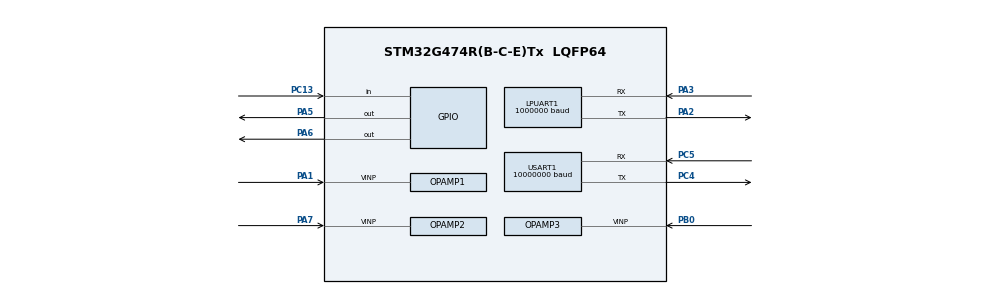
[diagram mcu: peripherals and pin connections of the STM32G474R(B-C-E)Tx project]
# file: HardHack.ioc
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ADC1.Channel-0\#ChannelRegularConversion=ADC_CHANNEL_VOPAMP1
ADC1.ContinuousConvMode=DISABLE
ADC1.DMAContinuousRequests=ENABLE
ADC1.ExternalTrigConv=ADC_EXTERNALTRIG_T3_TRGO
ADC1.NbrOfConversionFlag=1
ADC1.OffsetNumber-0\#ChannelRegularConversion=ADC_OFFSET_NONE
ADC1.Rank-0\#ChannelRegularConversion=1
ADC1.Resolution=ADC_RESOLUTION_8B
ADC1.SamplingTime-0\#ChannelRegularConversion=ADC_SAMPLETIME_247CYCLES_5
ADC1.master=1
ADC2.Channel-0\#ChannelRegularConversion=ADC_CHANNEL_VOPAMP2
ADC2.DMAContinuousRequests=ENABLE
ADC2.ExternalTrigConv=ADC_EXTERNALTRIG_T3_TRGO
ADC2.NbrOfConversionFlag=1
ADC2.OffsetNumber-0\#ChannelRegularConversion=ADC_OFFSET_NONE
ADC2.Rank-0\#ChannelRegularConversion=1
ADC2.Resolution=ADC_RESOLUTION_8B
ADC2.SamplingTime-0\#ChannelRegularConversion=ADC_SAMPLETIME_247CYCLES_5
ADC3.Channel-0\#ChannelRegularConversion=ADC_CHANNEL_VOPAMP3_ADC3
ADC3.DMAContinuousRequests=ENABLE
ADC3.ExternalTrigConv=ADC_EXTERNALTRIG_T3_TRGO
ADC3.NbrOfConversionFlag=1
ADC3.OffsetNumber-0\#ChannelRegularConversion=ADC_OFFSET_NONE
ADC3.Rank-0\#ChannelRegularConversion=1
ADC3.SamplingTime-0\#ChannelRegularConversion=ADC_SAMPLETIME_247CYCLES_5
ADC3.master=1
Dma.ADC1.0.Direction=DMA_PERIPH_TO_MEMORY
Dma.ADC1.0.EventEnable=DISABLE
Dma.ADC1.0.Instance=DMA1_Channel1
Dma.ADC1.0.MemDataAlignment=DMA_MDATAALIGN_BYTE
Dma.ADC1.0.MemInc=DMA_MINC_ENABLE
Dma.ADC1.0.Mode=DMA_CIRCULAR
Dma.ADC1.0.PeriphDataAlignment=DMA_PDATAALIGN_HALFWORD
Dma.ADC1.0.PeriphInc=DMA_PINC_DISABLE
Dma.ADC1.0.Polarity=HAL_DMAMUX_REQ_GEN_RISING
Dma.ADC1.0.Priority=DMA_PRIORITY_VERY_HIGH
Dma.ADC1.0.RequestNumber=1
Dma.ADC1.0.SignalID=NONE
Dma.ADC1.0.SyncEnable=DISABLE
Dma.ADC1.0.SyncPolarity=HAL_DMAMUX_SYNC_NO_EVENT
Dma.ADC1.0.SyncRequestNumber=1
Dma.ADC1.0.SyncSignalID=NONE
Dma.ADC2.1.Direction=DMA_PERIPH_TO_MEMORY
Dma.ADC2.1.EventEnable=DISABLE
Dma.ADC2.1.Instance=DMA1_Channel2
Dma.ADC2.1.MemDataAlignment=DMA_MDATAALIGN_BYTE
Dma.ADC2.1.MemInc=DMA_MINC_ENABLE
Dma.ADC2.1.Mode=DMA_CIRCULAR
Dma.ADC2.1.PeriphDataAlignment=DMA_PDATAALIGN_HALFWORD
Dma.ADC2.1.PeriphInc=DMA_PINC_DISABLE
Dma.ADC2.1.Polarity=HAL_DMAMUX_REQ_GEN_RISING
Dma.ADC2.1.Priority=DMA_PRIORITY_VERY_HIGH
Dma.ADC2.1.RequestNumber=1
Dma.ADC2.1.SignalID=NONE
Dma.ADC2.1.SyncEnable=DISABLE
Dma.ADC2.1.SyncPolarity=HAL_DMAMUX_SYNC_NO_EVENT
Dma.ADC2.1.SyncRequestNumber=1
Dma.ADC2.1.SyncSignalID=NONE
Dma.ADC3.2.Direction=DMA_PERIPH_TO_MEMORY
Dma.ADC3.2.EventEnable=DISABLE
Dma.ADC3.2.Instance=DMA1_Channel3
Dma.ADC3.2.MemDataAlignment=DMA_MDATAALIGN_BYTE
Dma.ADC3.2.MemInc=DMA_MINC_ENABLE
Dma.ADC3.2.Mode=DMA_CIRCULAR
Dma.ADC3.2.PeriphDataAlignment=DMA_PDATAALIGN_HALFWORD
Dma.ADC3.2.PeriphInc=DMA_PINC_DISABLE
Dma.ADC3.2.Polarity=HAL_DMAMUX_REQ_GEN_RISING
Dma.ADC3.2.Priority=DMA_PRIORITY_VERY_HIGH
Dma.ADC3.2.RequestNumber=1
Dma.ADC3.2.SignalID=NONE
Dma.ADC3.2.SyncEnable=DISABLE
Dma.ADC3.2.SyncPolarity=HAL_DMAMUX_SYNC_NO_EVENT
Dma.ADC3.2.SyncRequestNumber=1
Dma.ADC3.2.SyncSignalID=NONE
Dma.Request0=ADC1
Dma.Request1=ADC2
Dma.Request2=ADC3
LPUART1.BaudRate=1000000
Mcu.Family=STM32G4
Mcu.Name=STM32G474R(B-C-E)Tx
Mcu.Package=LQFP64
NVIC.DMA1_Channel1_IRQn=true\:0\:0\:false\:false\:true\:false\:true\:true
NVIC.DMA1_Channel2_IRQn=true\:0\:0\:true\:false\:true\:false\:true\:true
NVIC.DMA1_Channel3_IRQn=true\:0\:0\:false\:false\:true\:false\:true\:true
NVIC.PriorityGroup=NVIC_PRIORITYGROUP_4
OPAMP1.PowerMode=OPAMP_POWERMODE_NORMALSPEED
PA1.Mode=Follower_Internally_Connected
PA1.Signal=OPAMP1_VINP
PA13.Mode=Trace_Asynchronous_SW
PA13.Signal=SYS_JTMS-SWDIO
PA14.Mode=Trace_Asynchronous_SW
PA14.Signal=SYS_JTCK-SWCLK
PA2.Mode=Asynchronous
PA2.Signal=LPUART1_TX
PA3.Mode=Asynchronous
PA3.Signal=LPUART1_RX
PA5.Signal=GPIO_Output
PA6.Signal=GPIO_Output
PA7.Mode=Follower_Internally_Connected
PA7.Signal=OPAMP2_VINP
PB0.Mode=Follower_Internally_Connected
PB0.Signal=OPAMP3_VINP
PB3.Mode=Trace_Asynchronous_SW
PB3.Signal=SYS_JTDO-SWO
PC13.GPIO_PuPd=GPIO_PULLUP
PC13.Signal=GPIO_Input
PC4.Mode=Asynchronous
PC4.Signal=USART1_TX
PC5.Mode=Asynchronous
PC5.Signal=USART1_RX
PF0-OSC_IN.Mode=HSE-External-Oscillator
PF0-OSC_IN.Signal=RCC_OSC_IN
PF1-OSC_OUT.Mode=HSE-External-Oscillator
PF1-OSC_OUT.Signal=RCC_OSC_OUT
ProjectManager.HeapSize=0x200
ProjectManager.StackSize=0x400
ProjectManager.TargetToolchain=CMake
RCC.ADC12Freq_Value=160000000
RCC.ADC345Freq_Value=160000000
RCC.AHBFreq_Value=160000000
RCC.APB1CLKDivider=RCC_HCLK_DIV2
RCC.APB1Freq_Value=80000000
RCC.APB1TimFreq_Value=160000000
RCC.APB2Freq_Value=160000000
RCC.APB2TimFreq_Value=160000000
RCC.CortexFreq_Value=160000000
RCC.EXTERNAL_CLOCK_VALUE=12288000
RCC.EnbaleCSS=true
RCC.HCLKFreq_Value=160000000
RCC.HSE_VALUE=24000000
RCC.HSI48_VALUE=48000000
RCC.HSI_VALUE=16000000
RCC.LPUART1CLockSelection=RCC_LPUART1CLKSOURCE_SYSCLK
RCC.LSE_VALUE=32768
RCC.PLLM=RCC_PLLM_DIV3
RCC.PLLN=40
RCC.PLLSourceVirtual=RCC_PLLSOURCE_HSE
RCC.SYSCLKFreq_VALUE=160000000
RCC.SYSCLKSource=RCC_SYSCLKSOURCE_PLLCLK
RCC.USART1CLockSelection=RCC_USART1CLKSOURCE_SYSCLK
RCC.USBFreq_Value=160000000
RCC.VCOOutputFreq_Value=320000000
TIM2.Prescaler=159
TIM3.PeriodNoDither=9
TIM3.Prescaler=159
TIM3.TIM_MasterOutputTrigger=TIM_TRGO_UPDATE
USART1.BaudRate=10000000
USART1.VirtualMode-Asynchronous=VM_ASYNC
VP_ADC1_OPAMP_INTERNAL1.Mode=IN-OPAMP1
VP_ADC2_OPAMP_INTERNAL2.Mode=IN-OPAMP2
VP_ADC3_OPAMP_INTERNAL3.Mode=IN-OPAMP3
VP_SYS_VS_DBSignals.Mode=DisableDeadBatterySignals
VP_SYS_V_VREFBUF.Mode=ExternalMode
VP_TIM2_VS_ClockSourceINT.Mode=Internal
VP_TIM3_VS_ClockSourceINT.Mode=Internal
board=custom

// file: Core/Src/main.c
/* USER CODE BEGIN Header */
/**
  ******************************************************************************
  * @file           : main.c
  * @brief          : Main program body
  ******************************************************************************
  * @attention
  *
  * Copyright (c) 2026 STMicroelectronics.
  * All rights reserved.
  *
  * This software is licensed under terms that can be found in the LICENSE file
  * in the root directory of this software component.
  * If no LICENSE file comes with this software, it is provided AS-IS.
  *
  ******************************************************************************
  */
/* USER CODE END Header */
#include "main.h"
#include "adc.h"
#include "dma.h"
#include "usart.h"
#include "opamp.h"
#include "tim.h"
#include "gpio.h"

/* USER CODE BEGIN Includes */
#include "defines.h"
/* USER CODE END Includes */

/* USER CODE BEGIN PV */
volatile uint8_t adc1_data[BUF_SIZE];
volatile uint8_t adc2_data[BUF_SIZE];
volatile uint8_t adc3_data[BUF_SIZE];
/* USER CODE END PV */

void SystemClock_Config(void);

int main(void)
{

  /* MCU Configuration--------------------------------------------------------*/

  /* Reset of all peripherals, Initializes the Flash interface and the Systick. */
  HAL_Init();

  /* Configure the system clock */
  SystemClock_Config();

  /* Initialize all configured peripherals */
  MX_GPIO_Init();
  MX_DMA_Init();
  MX_ADC1_Init();
  MX_LPUART1_UART_Init();
  MX_USART1_UART_Init();
  MX_TIM2_Init();
  MX_TIM3_Init();
  MX_OPAMP1_Init();
  MX_ADC2_Init();
  MX_OPAMP2_Init();
  MX_ADC3_Init();
  MX_OPAMP3_Init();
  /* USER CODE BEGIN 2 */
  // OpAmp1 (buffer for ADC1)
  HAL_OPAMP_Start(&hopamp1);
  HAL_OPAMP_Start(&hopamp2);
  HAL_OPAMP_Start(&hopamp3);

  // ADC1 setup (audio channel 1)
  LL_DMA_SetPeriphAddress(DMA1, LL_DMA_CHANNEL_1, (uint32_t)&ADC1->DR);
  LL_DMA_SetMemoryAddress(DMA1, LL_DMA_CHANNEL_1, (uint32_t)&adc1_data[0]);
  LL_DMA_SetDataLength(DMA1, LL_DMA_CHANNEL_1, BUF_SIZE);
  LL_DMA_EnableChannel(DMA1, LL_DMA_CHANNEL_1);
  LL_DMA_EnableIT_HT(DMA1, LL_DMA_CHANNEL_1);
  LL_DMA_EnableIT_TC(DMA1, LL_DMA_CHANNEL_1);
  LL_ADC_Enable(ADC1);
  while (!LL_ADC_IsActiveFlag_ADRDY(ADC1));
  // ADC2 setup (audio channel 2)
  LL_DMA_SetPeriphAddress(DMA1, LL_DMA_CHANNEL_2, (uint32_t)&ADC2->DR);
  LL_DMA_SetMemoryAddress(DMA1, LL_DMA_CHANNEL_2, (uint32_t)&adc2_data[0]);
  LL_DMA_SetDataLength(DMA1, LL_DMA_CHANNEL_2, BUF_SIZE);
  LL_DMA_EnableChannel(DMA1, LL_DMA_CHANNEL_2);
  LL_DMA_EnableIT_HT(DMA1, LL_DMA_CHANNEL_2);
  LL_DMA_EnableIT_TC(DMA1, LL_DMA_CHANNEL_2);
  LL_ADC_Enable(ADC2);
  while (!LL_ADC_IsActiveFlag_ADRDY(ADC2));
  // // ADC3 setup (audio channel 3)
  // LL_DMA_SetPeriphAddress(DMA1, LL_DMA_CHANNEL_3, (uint32_t)&ADC3->DR);
  // LL_DMA_SetMemoryAddress(DMA1, LL_DMA_CHANNEL_3, (uint32_t)&adc3_data[0]);
  // LL_DMA_SetDataLength(DMA1, LL_DMA_CHANNEL_3, BUF_SIZE);
  // LL_DMA_EnableChannel(DMA1, LL_DMA_CHANNEL_3);
  // LL_DMA_EnableIT_HT(DMA1, LL_DMA_CHANNEL_3);
  // LL_DMA_EnableIT_TC(DMA1, LL_DMA_CHANNEL_3);
  // LL_ADC_Enable(ADC3);
  // while (!LL_ADC_IsActiveFlag_ADRDY(ADC3));
  LL_ADC_REG_StartConversion(ADC1);
  LL_ADC_REG_StartConversion(ADC2);
  // LL_ADC_REG_StartConversion(ADC3);

  // Start TIM3 (ADC1 conversion trigger)
  LL_TIM_EnableCounter(TIM3);

  // Start TIM2 (microsecond counter)
  LL_TIM_EnableCounter(TIM2);

  /* USER CODE END 2 */

  /* Infinite loop */
  while (1)
  {

  }
}

void SystemClock_Config(void)
{
  LL_FLASH_SetLatency(LL_FLASH_LATENCY_4);
  while(LL_FLASH_GetLatency() != LL_FLASH_LATENCY_4)
  {
  }
  LL_PWR_EnableRange1BoostMode();
  LL_RCC_HSE_Enable();
   /* Wait till HSE is ready */
  while(LL_RCC_HSE_IsReady() != 1)
  {
  }

  LL_RCC_HSE_EnableCSS();
  LL_RCC_PLL_ConfigDomain_SYS(LL_RCC_PLLSOURCE_HSE, LL_RCC_PLLM_DIV_3, 40, LL_RCC_PLLR_DIV_2);
  LL_RCC_PLL_EnableDomain_SYS();
  LL_RCC_PLL_Enable();
   /* Wait till PLL is ready */
  while(LL_RCC_PLL_IsReady() != 1)
  {
  }

  LL_RCC_SetSysClkSource(LL_RCC_SYS_CLKSOURCE_PLL);
  LL_RCC_SetAHBPrescaler(LL_RCC_SYSCLK_DIV_2);
   /* Wait till System clock is ready */
  while(LL_RCC_GetSysClkSource() != LL_RCC_SYS_CLKSOURCE_STATUS_PLL)
  {
  }

  /* Insure 1us transition state at intermediate medium speed clock*/
  for (__IO uint32_t i = (170 >> 1); i !=0; i--);

  /* Set AHB prescaler*/
  LL_RCC_SetAHBPrescaler(LL_RCC_SYSCLK_DIV_1);
  LL_RCC_SetAPB1Prescaler(LL_RCC_APB1_DIV_2);
  LL_RCC_SetAPB2Prescaler(LL_RCC_APB2_DIV_1);
  LL_SetSystemCoreClock(160000000);

   /* Update the time base */
  if (HAL_InitTick (TICK_INT_PRIORITY) != HAL_OK)
  {
    Error_Handler();
  }
}

void Error_Handler(void)
{
  __disable_irq();
  while (1)
  {
  }
}
